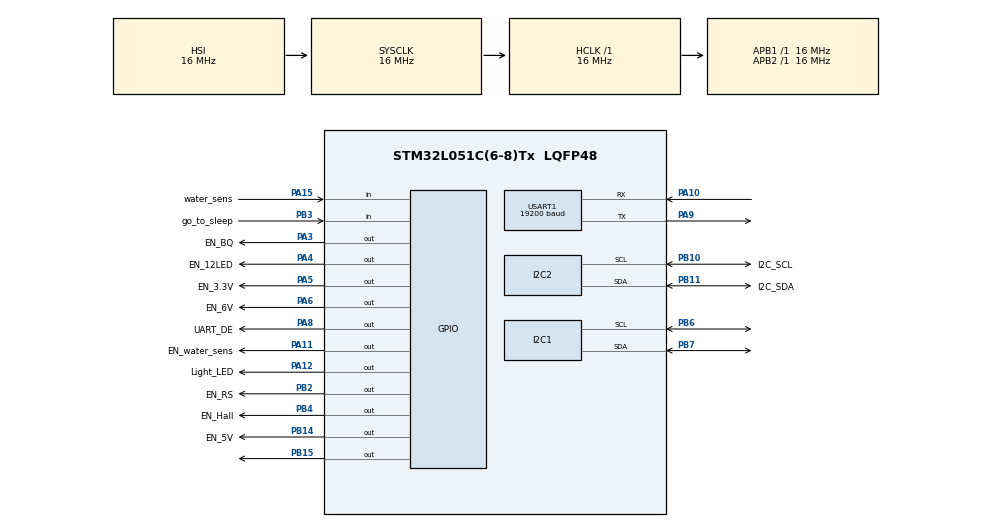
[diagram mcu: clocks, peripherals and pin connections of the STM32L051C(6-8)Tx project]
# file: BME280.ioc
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I2C1.SMBusPeripheralMode=SMBUS_PERIPHERAL_MODE_SMBUS_SLAVE
I2C1.Speed=20
I2C1.Timeout=0x000080C3
I2C1.Timing=0x101098F3
I2C2.Timing=0x00303D5B
Mcu.Family=STM32L0
Mcu.Name=STM32L051C(6-8)Tx
Mcu.Package=LQFP48
NVIC.I2C1_IRQn=true\:0\:0\:false\:false\:true\:true\:true\:true
NVIC.I2C2_IRQn=true\:0\:0\:false\:false\:true\:true\:true\:true
NVIC.TIM6_DAC_IRQn=true\:0\:0\:false\:false\:true\:true\:true\:true
NVIC.USART1_IRQn=true\:0\:0\:false\:false\:true\:true\:true\:true
PA10.Mode=Asynchronous
PA10.Signal=USART1_RX
PA11.GPIO_Label=EN_water_sens
PA11.PinState=GPIO_PIN_SET
PA11.Signal=GPIO_Output
PA12.GPIO_Label=Light_LED
PA12.Signal=GPIO_Output
PA15.GPIO_Label=water_sens
PA15.Signal=GPIO_Input
PA3.GPIO_Label=EN_BQ
PA3.Signal=GPIO_Output
PA4.GPIO_Label=EN_12LED
PA4.Signal=GPIO_Output
PA5.GPIO_Label=EN_3.3V
PA5.PinState=GPIO_PIN_RESET
PA5.Signal=GPIO_Output
PA6.GPIO_Label=EN_6V
PA6.PinState=GPIO_PIN_RESET
PA6.Signal=GPIO_Output
PA8.GPIO_Label=UART_DE
PA8.Signal=GPIO_Output
PA9.Mode=Asynchronous
PA9.Signal=USART1_TX
PB10.GPIO_Label=I2C_SCL
PB10.Mode=I2C
PB10.Signal=I2C2_SCL
PB11.GPIO_Label=I2C_SDA
PB11.Mode=I2C
PB11.Signal=I2C2_SDA
PB14.GPIO_Label=EN_5V
PB14.Signal=GPIO_Output
PB15.Signal=GPIO_Output
PB2.GPIO_Label=EN_RS
PB2.PinState=GPIO_PIN_SET
PB2.Signal=GPIO_Output
PB3.GPIO_Label=go_to_sleep
PB3.Signal=GPIO_Input
PB4.GPIO_Label=EN_Hall
PB4.PinState=GPIO_PIN_SET
PB4.Signal=GPIO_Output
PB6.Mode=SMBus-two-wire-Interface
PB6.Signal=I2C1_SCL
PB7.Mode=SMBus-two-wire-Interface
PB7.Signal=I2C1_SDA
ProjectManager.HeapSize=0x200
ProjectManager.StackSize=0x400
ProjectManager.TargetToolchain=MDK-ARM V5.32
RCC.AHBFreq_Value=16000000
RCC.APB1Freq_Value=16000000
RCC.APB1TimFreq_Value=16000000
RCC.APB2Freq_Value=16000000
RCC.APB2TimFreq_Value=16000000
RCC.HCLKFreq_Value=16000000
RCC.HSE_VALUE=8000000
RCC.HSI16_VALUE=16000000
RCC.HSI_VALUE=16000000
RCC.LSE_VALUE=32768
RCC.MSIClockRange=RCC_MSIRANGE_6
RCC.MSI_VALUE=4194000
RCC.SYSCLKFreq_VALUE=16000000
RCC.SYSCLKSource=RCC_SYSCLKSOURCE_HSI
RCC.VCOOutputFreq_Value=48000000
TIM6.Period=500
TIM6.Prescaler=15
USART1.BaudRate=19200
USART1.VirtualMode-Asynchronous=VM_ASYNC
VP_TIM6_VS_ClockSourceINT.Mode=Enable_Timer
board=custom

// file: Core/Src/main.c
/* USER CODE BEGIN Header */
/**
  ******************************************************************************
  * @file           : main.c
  * @brief          : Main program body
  ******************************************************************************
  * @attention
  *
  * Copyright (c) 2022 STMicroelectronics.
  * All rights reserved.
  *
  * This software is licensed under terms that can be found in the LICENSE file
  * in the root directory of this software component.
  * If no LICENSE file comes with this software, it is provided AS-IS.
  *
  ******************************************************************************
  */
/* USER CODE END Header */
#include "main.h"

/* USER CODE BEGIN Includes */
#include "BME280.h"

/* REGISTER ADDRESS REGISTER NAME    READ/WRITE 	DESCRIPTION 					POR STATE
  0x12H 				ChargeOption()   Read or Write  Charger Options Control 		0xF902H
  0x14H 				ChargeCurrent()  Read or Write  7-Bit Charge Current Setting 	0x0000H
  0x15H 				ChargeVoltage()  Read or Write  11-Bit Charge Voltage Setting 	0x0000H
  0x3FH 				InputCurrent()   Read or Write  6-Bit Input Current Setting 	0x1000H
  0XFEH 				ManufacturerID() Read Only 		Manufacturer ID 				0x0040H
  0xFFH 				DeviceID()       Read Only 		Device ID 						0x000BH

*/

/* USER CODE END Includes */

/* USER CODE BEGIN PTD */
#define time_uart 0.002084
#define ID_STM32 0x01
// 2.04 ms
int value = 55;
float tf = 0.0f, pf = 0.0f, af = 0.0f, hf = 0.0f;
uint16_t temp = 0;
uint8_t addr = 0;
uint8_t value1[2] = {0, 0};
uint8_t str;
uint8_t cnt = 0;
uint8_t buff_uart[255];
uint8_t delayByte = 0;
uint8_t bufferrx[2] = {0, 0};
uint8_t buffertx[1] = {0xff};

/* USER CODE END PTD */

SMBUS_HandleTypeDef hsmbus1;
I2C_HandleTypeDef hi2c2;
TIM_HandleTypeDef htim6;
UART_HandleTypeDef huart1;

void SystemClock_Config(void);
static void MX_GPIO_Init(void);
static void MX_I2C2_Init(void);
static void MX_USART1_UART_Init(void);
static void MX_TIM6_Init(void);
static void MX_I2C1_SMBUS_Init(void);

/* USER CODE BEGIN 0 */
uint8_t GenCRC16(uint8_t* buff, size_t len);
uint8_t CheckCRC16(uint8_t* buff, size_t len);
/* USER CODE END 0 */

int main(void)
{

  /* MCU Configuration--------------------------------------------------------*/

  /* Reset of all peripherals, Initializes the Flash interface and the Systick. */
  HAL_Init();

  /* Configure the system clock */
  SystemClock_Config();

  /* Initialize all configured peripherals */
  MX_GPIO_Init();
  MX_I2C2_Init();
  MX_USART1_UART_Init();
  MX_TIM6_Init();
  MX_I2C1_SMBUS_Init();
  /* USER CODE BEGIN 2 */

  // Выключение RGB диодов
  //HAL_GPIO_WritePin(GPIOB, LED_B_Pin|LED_G_Pin|LED_R_Pin, GPIO_PIN_SET);

  // Активация всех модулей питания 12V, 5V, 3.3V, 6V.
  HAL_Delay(10);
  HAL_GPIO_WritePin(GPIOA, EN_12LED_Pin, GPIO_PIN_SET);
  HAL_GPIO_WritePin(GPIOB, EN_5V_Pin, GPIO_PIN_SET);
  HAL_Delay(10);
  HAL_GPIO_WritePin(GPIOA, EN_3_3V_Pin, GPIO_PIN_SET);
  HAL_Delay(10);
  HAL_GPIO_WritePin(GPIOA, EN_6V_Pin, GPIO_PIN_SET);
  HAL_GPIO_WritePin(GPIOB, EN_RS_Pin, GPIO_PIN_SET);
  HAL_Delay(10);

  // Инициализация датчика BME280
  BME280_Init();

  // Включение питания BQ
  HAL_GPIO_WritePin(GPIOA, EN_BQ_Pin, GPIO_PIN_SET);

  //Включение приема по modBus
  HAL_GPIO_WritePin(GPIOB, EN_RS_Pin, GPIO_PIN_RESET);
  __HAL_TIM_CLEAR_FLAG(&htim6, TIM_SR_UIF); // очищаем флаг
  HAL_UART_Receive_IT(&huart1, &str, 1);

  /* USER CODE END 2 */

  /* Infinite loop */
  /* USER CODE BEGIN WHILE */

  while (1)
  {
      // получение температуры
      tf = BME280_ReadTemperature();
      temp = tf;

      HAL_Delay(100);

    /* USER CODE END WHILE */

  }
}

void SystemClock_Config(void)
{
  RCC_OscInitTypeDef RCC_OscInitStruct = {0};
  RCC_ClkInitTypeDef RCC_ClkInitStruct = {0};
  RCC_PeriphCLKInitTypeDef PeriphClkInit = {0};

  /** Configure the main internal regulator output voltage
  */
  __HAL_PWR_VOLTAGESCALING_CONFIG(PWR_REGULATOR_VOLTAGE_SCALE1);

  /** Initializes the RCC Oscillators according to the specified parameters
  * in the RCC_OscInitTypeDef structure.
  */
  RCC_OscInitStruct.OscillatorType = RCC_OSCILLATORTYPE_HSI;
  RCC_OscInitStruct.HSIState = RCC_HSI_ON;
  RCC_OscInitStruct.HSICalibrationValue = RCC_HSICALIBRATION_DEFAULT;
  RCC_OscInitStruct.PLL.PLLState = RCC_PLL_NONE;
  if (HAL_RCC_OscConfig(&RCC_OscInitStruct) != HAL_OK)
  {
    Error_Handler();
  }

  /** Initializes the CPU, AHB and APB buses clocks
  */
  RCC_ClkInitStruct.ClockType = RCC_CLOCKTYPE_HCLK|RCC_CLOCKTYPE_SYSCLK
                              |RCC_CLOCKTYPE_PCLK1|RCC_CLOCKTYPE_PCLK2;
  RCC_ClkInitStruct.SYSCLKSource = RCC_SYSCLKSOURCE_HSI;
  RCC_ClkInitStruct.AHBCLKDivider = RCC_SYSCLK_DIV1;
  RCC_ClkInitStruct.APB1CLKDivider = RCC_HCLK_DIV1;
  RCC_ClkInitStruct.APB2CLKDivider = RCC_HCLK_DIV1;

  if (HAL_RCC_ClockConfig(&RCC_ClkInitStruct, FLASH_LATENCY_0) != HAL_OK)
  {
    Error_Handler();
  }
  PeriphClkInit.PeriphClockSelection = RCC_PERIPHCLK_USART1|RCC_PERIPHCLK_I2C1;
  PeriphClkInit.Usart1ClockSelection = RCC_USART1CLKSOURCE_PCLK2;
  PeriphClkInit.I2c1ClockSelection = RCC_I2C1CLKSOURCE_PCLK1;
  if (HAL_RCCEx_PeriphCLKConfig(&PeriphClkInit) != HAL_OK)
  {
    Error_Handler();
  }
}

static void MX_I2C1_SMBUS_Init(void)
{

  hsmbus1.Instance = I2C1;
  hsmbus1.Init.Timing = 0x101098F3;
  hsmbus1.Init.AnalogFilter = SMBUS_ANALOGFILTER_ENABLE;
  hsmbus1.Init.OwnAddress1 = 2;
  hsmbus1.Init.AddressingMode = SMBUS_ADDRESSINGMODE_7BIT;
  hsmbus1.Init.DualAddressMode = SMBUS_DUALADDRESS_DISABLE;
  hsmbus1.Init.OwnAddress2 = 0;
  hsmbus1.Init.OwnAddress2Masks = SMBUS_OA2_NOMASK;
  hsmbus1.Init.GeneralCallMode = SMBUS_GENERALCALL_DISABLE;
  hsmbus1.Init.NoStretchMode = SMBUS_NOSTRETCH_DISABLE;
  hsmbus1.Init.PacketErrorCheckMode = SMBUS_PEC_DISABLE;
  hsmbus1.Init.PeripheralMode = SMBUS_PERIPHERAL_MODE_SMBUS_SLAVE;
  hsmbus1.Init.SMBusTimeout = 0x000080C3;
  if (HAL_SMBUS_Init(&hsmbus1) != HAL_OK)
  {
    Error_Handler();
  }

}

static void MX_I2C2_Init(void)
{

  hi2c2.Instance = I2C2;
  hi2c2.Init.Timing = 0x00303D5B;
  hi2c2.Init.OwnAddress1 = 0;
  hi2c2.Init.AddressingMode = I2C_ADDRESSINGMODE_7BIT;
  hi2c2.Init.DualAddressMode = I2C_DUALADDRESS_DISABLE;
  hi2c2.Init.OwnAddress2 = 0;
  hi2c2.Init.OwnAddress2Masks = I2C_OA2_NOMASK;
  hi2c2.Init.GeneralCallMode = I2C_GENERALCALL_DISABLE;
  hi2c2.Init.NoStretchMode = I2C_NOSTRETCH_DISABLE;
  if (HAL_I2C_Init(&hi2c2) != HAL_OK)
  {
    Error_Handler();
  }

  /** Configure Analogue filter
  */
  if (HAL_I2CEx_ConfigAnalogFilter(&hi2c2, I2C_ANALOGFILTER_ENABLE) != HAL_OK)
  {
    Error_Handler();
  }

  /** Configure Digital filter
  */
  if (HAL_I2CEx_ConfigDigitalFilter(&hi2c2, 0) != HAL_OK)
  {
    Error_Handler();
  }

}

static void MX_TIM6_Init(void)
{

  TIM_MasterConfigTypeDef sMasterConfig = {0};

  htim6.Instance = TIM6;
  htim6.Init.Prescaler = 15;
  htim6.Init.CounterMode = TIM_COUNTERMODE_UP;
  htim6.Init.Period = 2500;
  htim6.Init.AutoReloadPreload = TIM_AUTORELOAD_PRELOAD_DISABLE;
  if (HAL_TIM_Base_Init(&htim6) != HAL_OK)
  {
    Error_Handler();
  }
  sMasterConfig.MasterOutputTrigger = TIM_TRGO_RESET;
  sMasterConfig.MasterSlaveMode = TIM_MASTERSLAVEMODE_DISABLE;
  if (HAL_TIMEx_MasterConfigSynchronization(&htim6, &sMasterConfig) != HAL_OK)
  {
    Error_Handler();
  }

}

static void MX_USART1_UART_Init(void)
{

  huart1.Instance = USART1;
  huart1.Init.BaudRate = 19200;
  huart1.Init.WordLength = UART_WORDLENGTH_8B;
  huart1.Init.StopBits = UART_STOPBITS_1;
  huart1.Init.Parity = UART_PARITY_NONE;
  huart1.Init.Mode = UART_MODE_TX_RX;
  huart1.Init.HwFlowCtl = UART_HWCONTROL_NONE;
  huart1.Init.OverSampling = UART_OVERSAMPLING_16;
  huart1.Init.OneBitSampling = UART_ONE_BIT_SAMPLE_DISABLE;
  huart1.AdvancedInit.AdvFeatureInit = UART_ADVFEATURE_NO_INIT;
  if (HAL_UART_Init(&huart1) != HAL_OK)
  {
    Error_Handler();
  }

}

static void MX_GPIO_Init(void)
{
  GPIO_InitTypeDef GPIO_InitStruct = {0};

  /* GPIO Ports Clock Enable */
  __HAL_RCC_GPIOA_CLK_ENABLE();
  __HAL_RCC_GPIOB_CLK_ENABLE();

  /*Configure GPIO pin Output Level */
  HAL_GPIO_WritePin(GPIOA, EN_BQ_Pin|EN_12LED_Pin|EN_3_3V_Pin|EN_6V_Pin
                          |UART_DE_Pin|Light_LED_Pin, GPIO_PIN_RESET);

  /*Configure GPIO pin Output Level */
  HAL_GPIO_WritePin(GPIOB, EN_RS_Pin|EN_Hall_Pin, GPIO_PIN_SET);

  /*Configure GPIO pin Output Level */
  HAL_GPIO_WritePin(GPIOB, EN_5V_Pin|GPIO_PIN_15, GPIO_PIN_RESET);

  /*Configure GPIO pin Output Level */
  HAL_GPIO_WritePin(EN_water_sens_GPIO_Port, EN_water_sens_Pin, GPIO_PIN_SET);

  /*Configure GPIO pins : EN_BQ_Pin EN_12LED_Pin EN_3_3V_Pin EN_6V_Pin
                           UART_DE_Pin EN_water_sens_Pin Light_LED_Pin */
  GPIO_InitStruct.Pin = EN_BQ_Pin|EN_12LED_Pin|EN_3_3V_Pin|EN_6V_Pin
                          |UART_DE_Pin|EN_water_sens_Pin|Light_LED_Pin;
  GPIO_InitStruct.Mode = GPIO_MODE_OUTPUT_PP;
  GPIO_InitStruct.Pull = GPIO_NOPULL;
  GPIO_InitStruct.Speed = GPIO_SPEED_FREQ_LOW;
  HAL_GPIO_Init(GPIOA, &GPIO_InitStruct);

  /*Configure GPIO pins : EN_RS_Pin EN_5V_Pin PB15 EN_Hall_Pin */
  GPIO_InitStruct.Pin = EN_RS_Pin|EN_5V_Pin|GPIO_PIN_15|EN_Hall_Pin;
  GPIO_InitStruct.Mode = GPIO_MODE_OUTPUT_PP;
  GPIO_InitStruct.Pull = GPIO_NOPULL;
  GPIO_InitStruct.Speed = GPIO_SPEED_FREQ_LOW;
  HAL_GPIO_Init(GPIOB, &GPIO_InitStruct);

  /*Configure GPIO pin : water_sens_Pin */
  GPIO_InitStruct.Pin = water_sens_Pin;
  GPIO_InitStruct.Mode = GPIO_MODE_INPUT;
  GPIO_InitStruct.Pull = GPIO_NOPULL;
  HAL_GPIO_Init(water_sens_GPIO_Port, &GPIO_InitStruct);

  /*Configure GPIO pin : go_to_sleep_Pin */
  GPIO_InitStruct.Pin = go_to_sleep_Pin;
  GPIO_InitStruct.Mode = GPIO_MODE_INPUT;
  GPIO_InitStruct.Pull = GPIO_NOPULL;
  HAL_GPIO_Init(go_to_sleep_GPIO_Port, &GPIO_InitStruct);

}

/* USER CODE BEGIN 4 */
//------------------------------------------------
//              Формирование CRC16              //
//------------------------------------------------
uint8_t GenCRC16(uint8_t* buff, size_t len)
{
	uint16_t crc = 0xFFFF;
	uint16_t pos = 0;
	uint8_t i = 0;
	uint8_t lo = 0;
	uint8_t hi = 0;

	for (pos = 0; pos < len; pos++)
	{
		crc ^= buff[pos];

		for (i = 8; i != 0; i--)
		{
			if ((crc & 0x0001) != 0)
			{
				crc >>= 1;
				crc ^= 0xA001;
			}
			else
				crc >>= 1;
		}
	}
	lo = crc & 0xFF;
	hi = (crc >> 8) & 0xFF;

	buff[len++] = lo;
	buff[len++] = hi;
	return len;
}
//------------------------------------------------
//              Проверка CRC16                  //
//------------------------------------------------
uint8_t CheckCRC16(uint8_t* buff, size_t len)
{
	uint16_t crc = 0xFFFF;
	uint16_t pos = 0;
	uint8_t i = 0;
	uint8_t lo = 0;
	uint8_t hi = 0;

	for (pos = 0; pos < len - 2; pos++)
	{
		crc ^= buff[pos];

		for (i = 8; i != 0; i--)
		{
			if ((crc & 0x0001) != 0)
			{
				crc >>= 1;
				crc ^= 0xA001;
			}
			else
				crc >>= 1;
		}
	}
	lo = crc & 0xFF;
	hi = (crc >> 8) & 0xFF;
	if ((buff[len - 2] == lo) &&
		(buff[len - 1] == hi))
	{
		return 1;
	}
	return 0;
}

void HAL_UART_RxCpltCallback(UART_HandleTypeDef *huart)
  {
      //Прием байт по modbus
    if(huart == &huart1) {
        HAL_TIM_Base_Stop_IT(&htim6);
        __HAL_TIM_SetCounter(&htim6, 0);
        HAL_TIM_Base_Start_IT(&htim6);
        buff_uart[cnt] = str;
        cnt = cnt + 1;
        HAL_UART_Receive_IT(&huart1, &str, 1);
    }
  }

  void HAL_TIM_PeriodElapsedCallback(TIM_HandleTypeDef *htim)
  {
      // проверка окончания транзакция по modbus
    if(htim->Instance == TIM6) //check if the interrupt comes from TIM6
    {
        uint16_t addr_var = 0;
        uint16_t num_word = 0;
        uint8_t addr_array = 0;

        if (cnt > 4) {
            HAL_TIM_Base_Stop_IT(&htim6);
            __HAL_TIM_SetCounter(&htim6, 0); // сброс таймера

            if (buff_uart[0] == ID_STM32 && CheckCRC16(buff_uart, cnt)) {
                addr_var = (buff_uart[2] << 8) |  buff_uart[3];
                num_word = (buff_uart[4] << 8) |  buff_uart[5];
                buff_uart[2] = num_word * 2;
                if (buff_uart[1] == 0x03) { // чтение
                    for(uint16_t i = 0; i < num_word; i = i + 1) {
                        switch (addr_var) {
                            case 0x0001: // чтение темпы
                                buff_uart[addr_array + 3] = (temp >> 8) & 0xFF;
                                buff_uart[addr_array + 4] = temp & 0xFF;
                                break;
                            case 0x0002: // еще переменная
                                buff_uart[addr_array + 3] = 0x33;
                                buff_uart[addr_array + 4] = 0x44;
                                break;
                            default:
                                //ошибка
                              break;
                        }
                        addr_var = addr_var + 1;
                        addr_array = addr_array + 2;
                    }

                    cnt = GenCRC16(buff_uart, buff_uart[2] + 3);

                } else if (buff_uart[1] == 0x06) { // запись
                    //запись в в регистр
                }

            }

            HAL_GPIO_WritePin(GPIOA, UART_DE_Pin, GPIO_PIN_SET); // активация передачи
            HAL_UART_Transmit_IT(&huart1, buff_uart, cnt);
        } else {
            HAL_UART_Receive_IT(&huart1, &str, 1);
        }
        cnt = 0;
    }
}
void HAL_UART_TxCpltCallback(UART_HandleTypeDef *huart) {
    if(huart == &huart1) {
      HAL_GPIO_WritePin(GPIOA, UART_DE_Pin, GPIO_PIN_RESET);
      HAL_UART_Receive_IT(&huart1, &str, 1);
      cnt = 0;
    }
}

/* USER CODE END 4 */

void Error_Handler(void)
{
  __disable_irq();
  while (1)
  {
  }
}
